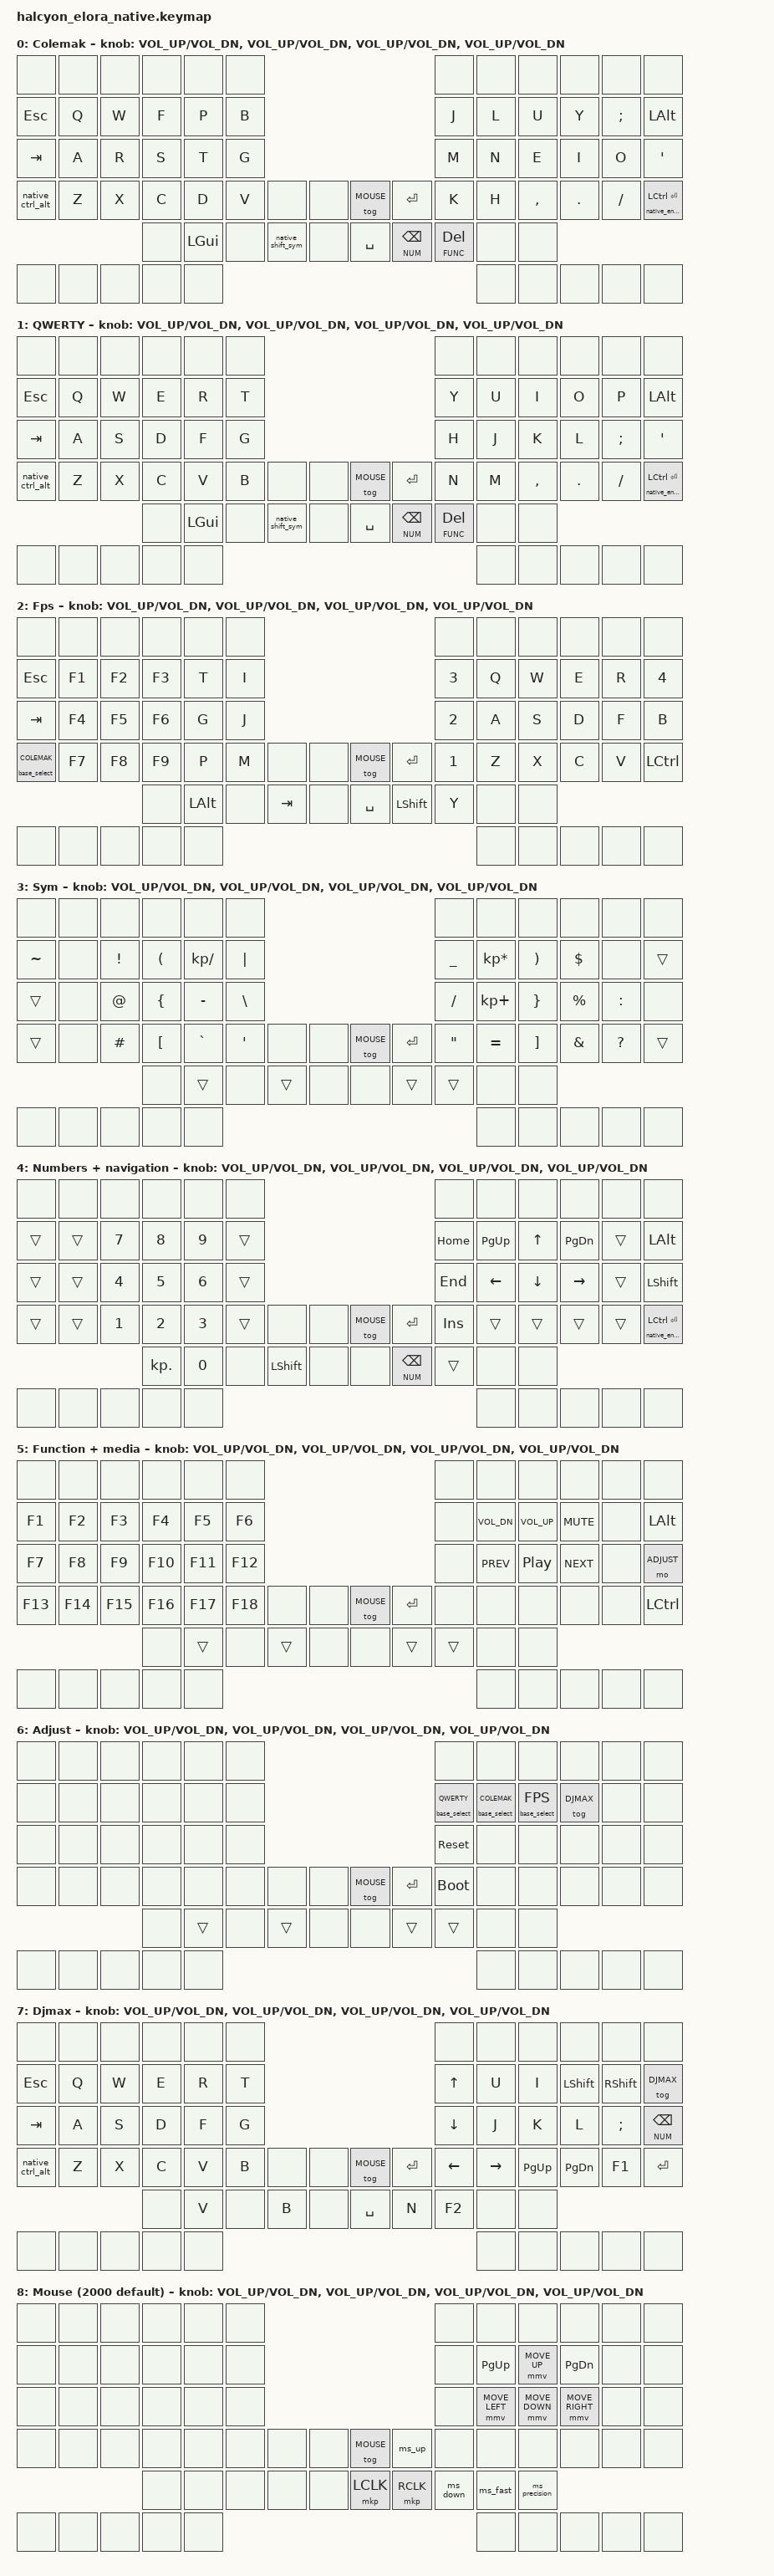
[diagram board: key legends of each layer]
/* SPDX-License-Identifier: GPL-2.0-or-later
 * Generated by scripts/generate_keymap.py from config/layout.json.
 * Original QMK keymap: Copyright 2020 gtips, modified by aefreedman.
 * Edit layout.json for bindings and the generator/includes for behaviors, then regenerate.
 */
#define ZMK_POINTING_DEFAULT_MOVE_VAL 2000
#include <behaviors.dtsi>
#include <dt-bindings/zmk/keys.h>
#include <dt-bindings/zmk/pointing.h>

#define COLEMAK 0
#define QWERTY  1
#define FPS     2
#define SYM     3
#define NUM     4
#define FUNC    5
#define ADJUST  6
#define DJMAX   7
#define MOUSE   8

&mmv_input_listener {
    input-processors = <&pointer_speed>;
};

&lt {
    tapping-term-ms = <200>;
    // A tap must not force the next hold into repeating Backspace/Delete.
    quick-tap-ms = <0>;
    flavor = "hold-preferred";
};

/ {
    pointer_speed: runtime_mouse_speed {
        compatible = "aefreedman,mouse-speed-scaler";
        #input-processor-cells = <0>;
        track-remainders;
    };
    behaviors {
        ms_adjust: mouse_speed_adjust {
            compatible = "aefreedman,mouse-speed";
            #binding-cells = <1>;
        };
        ms_down: mouse_speed_down {
            compatible = "zmk,behavior-tap-dance";
            #binding-cells = <0>;
            tapping-term-ms = <200>;
            bindings = <&ms_adjust 0>, <&ms_adjust 2>;
        };
        ms_up: mouse_speed_up {
            compatible = "zmk,behavior-tap-dance";
            #binding-cells = <0>;
            tapping-term-ms = <200>;
            bindings = <&ms_adjust 1>, <&ms_adjust 2>;
        };
#include "native_thumb_gestures.dtsi"
        base_select: base_selection {
            compatible = "aefreedman,base-select";
            #binding-cells = <1>;
        };
        ms_fast: mouse_fast_mode {
            compatible = "zmk,behavior-tap-dance";
            #binding-cells = <0>;
            tapping-term-ms = <200>;
            bindings = <&ms_adjust 3>, <&ms_adjust 4>;
        };
        ms_precision: mouse_precision_mode {
            compatible = "zmk,behavior-tap-dance";
            #binding-cells = <0>;
            tapping-term-ms = <200>;
            bindings = <&ms_adjust 5>, <&ms_adjust 6>;
        };
    };
    keymap {
        compatible = "zmk,keymap";

        colemak_layer {
            display-name = "Colemak";
            // LEFT                                                                           RIGHT
            bindings = <
                &none            &none &none &none &none    &none                                                      &none        &none &none     &none   &none    &none
                &kp ESC          &kp Q &kp W &kp F &kp P    &kp B                                                      &kp J        &kp L &kp U     &kp Y   &kp SEMI &kp LALT
                &kp TAB          &kp A &kp R &kp S &kp T    &kp G                                                      &kp M        &kp N &kp E     &kp I   &kp O    &kp SQT
                &native_ctrl_alt &kp Z &kp X &kp C &kp D    &kp V &none             &none      &tog MOUSE &kp RET      &kp K        &kp H &kp COMMA &kp DOT &kp FSLH &native_enter_ctrl LCTRL RET
                                             &none &kp LGUI &none &native_shift_sym &none      &kp SPACE  &lt NUM BSPC &lt FUNC DEL &none &none
                &none            &none &none &none &none                                                                            &none &none     &none   &none    &none
            >;
            sensor-bindings = <&inc_dec_kp C_VOL_UP C_VOL_DN &inc_dec_kp C_VOL_UP C_VOL_DN &inc_dec_kp C_VOL_UP C_VOL_DN &inc_dec_kp C_VOL_UP C_VOL_DN>;
        };

        base_layer {
            display-name = "QWERTY";
            // LEFT                                                                           RIGHT
            bindings = <
                &none            &none &none &none &none    &none                                                      &none        &none &none     &none   &none    &none
                &kp ESC          &kp Q &kp W &kp E &kp R    &kp T                                                      &kp Y        &kp U &kp I     &kp O   &kp P    &kp LALT
                &kp TAB          &kp A &kp S &kp D &kp F    &kp G                                                      &kp H        &kp J &kp K     &kp L   &kp SEMI &kp SQT
                &native_ctrl_alt &kp Z &kp X &kp C &kp V    &kp B &none             &none      &tog MOUSE &kp RET      &kp N        &kp M &kp COMMA &kp DOT &kp FSLH &native_enter_ctrl LCTRL RET
                                             &none &kp LGUI &none &native_shift_sym &none      &kp SPACE  &lt NUM BSPC &lt FUNC DEL &none &none
                &none            &none &none &none &none                                                                            &none &none     &none   &none    &none
            >;
            sensor-bindings = <&inc_dec_kp C_VOL_UP C_VOL_DN &inc_dec_kp C_VOL_UP C_VOL_DN &inc_dec_kp C_VOL_UP C_VOL_DN &inc_dec_kp C_VOL_UP C_VOL_DN>;
        };

        fps_layer {
            display-name = "Fps";
            // LEFT                                                                        RIGHT
            bindings = <
                &none                &none  &none  &none  &none    &none                                         &none  &none &none &none &none &none
                &kp ESC              &kp F1 &kp F2 &kp F3 &kp T    &kp I                                         &kp N3 &kp Q &kp W &kp E &kp R &kp N4
                &kp TAB              &kp F4 &kp F5 &kp F6 &kp G    &kp J                                         &kp N2 &kp A &kp S &kp D &kp F &kp B
                &base_select COLEMAK &kp F7 &kp F8 &kp F9 &kp P    &kp M &none   &none      &tog MOUSE &kp RET   &kp N1 &kp Z &kp X &kp C &kp V &kp LCTRL
                                                   &none  &kp LALT &none &kp TAB &none      &kp SPACE  &kp LSHFT &kp Y  &none &none
                &none                &none  &none  &none  &none                                                         &none &none &none &none &none
            >;
            sensor-bindings = <&inc_dec_kp C_VOL_UP C_VOL_DN &inc_dec_kp C_VOL_UP C_VOL_DN &inc_dec_kp C_VOL_UP C_VOL_DN &inc_dec_kp C_VOL_UP C_VOL_DN>;
        };

        sym_layer {
            display-name = "Sym";
            // LEFT                                                                       RIGHT
            bindings = <
                &none     &none &none    &none    &none         &none                                         &none     &none           &none    &none     &none     &none
                &kp TILDE &none &kp EXCL &kp LPAR &kp KP_DIVIDE &kp PIPE                                      &kp UNDER &kp KP_MULTIPLY &kp RPAR &kp DLLR  &none     &trans
                &trans    &none &kp AT   &kp LBRC &kp MINUS     &kp BSLH                                      &kp FSLH  &kp KP_PLUS     &kp RBRC &kp PRCNT &kp COLN  &none
                &trans    &none &kp HASH &kp LBKT &kp GRAVE     &kp SQT  &none  &none      &tog MOUSE &kp RET &kp DQT   &kp EQUAL       &kp RBKT &kp AMPS  &kp QMARK &trans
                                         &none    &trans        &none    &trans &none      &none      &trans  &trans    &none           &none
                &none     &none &none    &none    &none                                                                 &none           &none    &none     &none     &none
            >;
            sensor-bindings = <&inc_dec_kp C_VOL_UP C_VOL_DN &inc_dec_kp C_VOL_UP C_VOL_DN &inc_dec_kp C_VOL_UP C_VOL_DN &inc_dec_kp C_VOL_UP C_VOL_DN>;
        };

        num_layer {
            display-name = "Numbers + navigation";
            // LEFT                                                               RIGHT
            bindings = <
                &none  &none  &none  &none      &none  &none                                               &none    &none     &none    &none     &none  &none
                &trans &trans &kp N7 &kp N8     &kp N9 &trans                                              &kp HOME &kp PG_UP &kp UP   &kp PG_DN &trans &kp LALT
                &trans &trans &kp N4 &kp N5     &kp N6 &trans                                              &kp END  &kp LEFT  &kp DOWN &kp RIGHT &trans &kp LSHFT
                &trans &trans &kp N1 &kp N2     &kp N3 &trans &none     &none      &tog MOUSE &kp RET      &kp INS  &trans    &trans   &trans    &trans &native_enter_ctrl LCTRL RET
                                     &kp KP_DOT &kp N0 &none  &kp LSHFT &none      &none      &lt NUM BSPC &trans   &none     &none
                &none  &none  &none  &none      &none                                                               &none     &none    &none     &none  &none
            >;
            sensor-bindings = <&inc_dec_kp C_VOL_UP C_VOL_DN &inc_dec_kp C_VOL_UP C_VOL_DN &inc_dec_kp C_VOL_UP C_VOL_DN &inc_dec_kp C_VOL_UP C_VOL_DN>;
        };

        func_layer {
            display-name = "Function + media";
            // LEFT                                                              RIGHT
            bindings = <
                &none   &none   &none   &none   &none   &none                                        &none  &none        &none            &none      &none &none
                &kp F1  &kp F2  &kp F3  &kp F4  &kp F5  &kp F6                                       &none  &kp C_VOL_DN &kp C_VOL_UP     &kp C_MUTE &none &kp LALT
                &kp F7  &kp F8  &kp F9  &kp F10 &kp F11 &kp F12                                      &none  &kp C_PREV   &kp C_PLAY_PAUSE &kp C_NEXT &none &mo ADJUST
                &kp F13 &kp F14 &kp F15 &kp F16 &kp F17 &kp F18 &none  &none      &tog MOUSE &kp RET &none  &none        &none            &none      &none &kp LCTRL
                                        &none   &trans  &none   &trans &none      &none      &trans  &trans &none        &none
                &none   &none   &none   &none   &none                                                       &none        &none            &none      &none &none
            >;
            sensor-bindings = <&inc_dec_kp C_VOL_UP C_VOL_DN &inc_dec_kp C_VOL_UP C_VOL_DN &inc_dec_kp C_VOL_UP C_VOL_DN &inc_dec_kp C_VOL_UP C_VOL_DN>;
        };

        adjust_layer {
            display-name = "Adjust";
            // LEFT                                                   RIGHT
            bindings = <
                &none &none &none &none &none  &none                                      &none               &none                &none            &none      &none &none
                &none &none &none &none &none  &none                                      &base_select QWERTY &base_select COLEMAK &base_select FPS &tog DJMAX &none &none
                &none &none &none &none &none  &none                                      &sys_reset          &none                &none            &none      &none &none
                &none &none &none &none &none  &none &none  &none      &tog MOUSE &kp RET &bootloader         &none                &none            &none      &none &none
                                  &none &trans &none &trans &none      &none      &trans  &trans              &none                &none
                &none &none &none &none &none                                                                 &none                &none            &none      &none &none
            >;
            sensor-bindings = <&inc_dec_kp C_VOL_UP C_VOL_DN &inc_dec_kp C_VOL_UP C_VOL_DN &inc_dec_kp C_VOL_UP C_VOL_DN &inc_dec_kp C_VOL_UP C_VOL_DN>;
        };

        djmax_layer {
            display-name = "Djmax";
            // LEFT                                                            RIGHT
            bindings = <
                &none            &none &none &none &none &none                                     &none    &none     &none     &none     &none     &none
                &kp ESC          &kp Q &kp W &kp E &kp R &kp T                                     &kp UP   &kp U     &kp I     &kp LSHFT &kp RSHFT &tog DJMAX
                &kp TAB          &kp A &kp S &kp D &kp F &kp G                                     &kp DOWN &kp J     &kp K     &kp L     &kp SEMI  &lt NUM BSPC
                &native_ctrl_alt &kp Z &kp X &kp C &kp V &kp B &none &none      &tog MOUSE &kp RET &kp LEFT &kp RIGHT &kp PG_UP &kp PG_DN &kp F1    &kp RET
                                             &none &kp V &none &kp B &none      &kp SPACE  &kp N   &kp F2   &none     &none
                &none            &none &none &none &none                                                    &none     &none     &none     &none     &none
            >;
            sensor-bindings = <&inc_dec_kp C_VOL_UP C_VOL_DN &inc_dec_kp C_VOL_UP C_VOL_DN &inc_dec_kp C_VOL_UP C_VOL_DN &inc_dec_kp C_VOL_UP C_VOL_DN>;
        };

        mouse_layer {
            display-name = "Mouse (2000 default)";
            // LEFT                                                 RIGHT
            bindings = <
                &none &none &none &none &none &none                                       &none    &none          &none          &none           &none &none
                &none &none &none &none &none &none                                       &none    &kp PG_UP      &mmv MOVE_UP   &kp PG_DN       &none &none
                &none &none &none &none &none &none                                       &none    &mmv MOVE_LEFT &mmv MOVE_DOWN &mmv MOVE_RIGHT &none &none
                &none &none &none &none &none &none &none &none      &tog MOUSE &ms_up    &none    &none          &none          &none           &none &none
                                  &none &none &none &none &none      &mkp LCLK  &mkp RCLK &ms_down &ms_fast       &ms_precision
                &none &none &none &none &none                                                      &none          &none          &none           &none &none
            >;
            sensor-bindings = <&inc_dec_kp C_VOL_UP C_VOL_DN &inc_dec_kp C_VOL_UP C_VOL_DN &inc_dec_kp C_VOL_UP C_VOL_DN &inc_dec_kp C_VOL_UP C_VOL_DN>;
        };
    };
};
